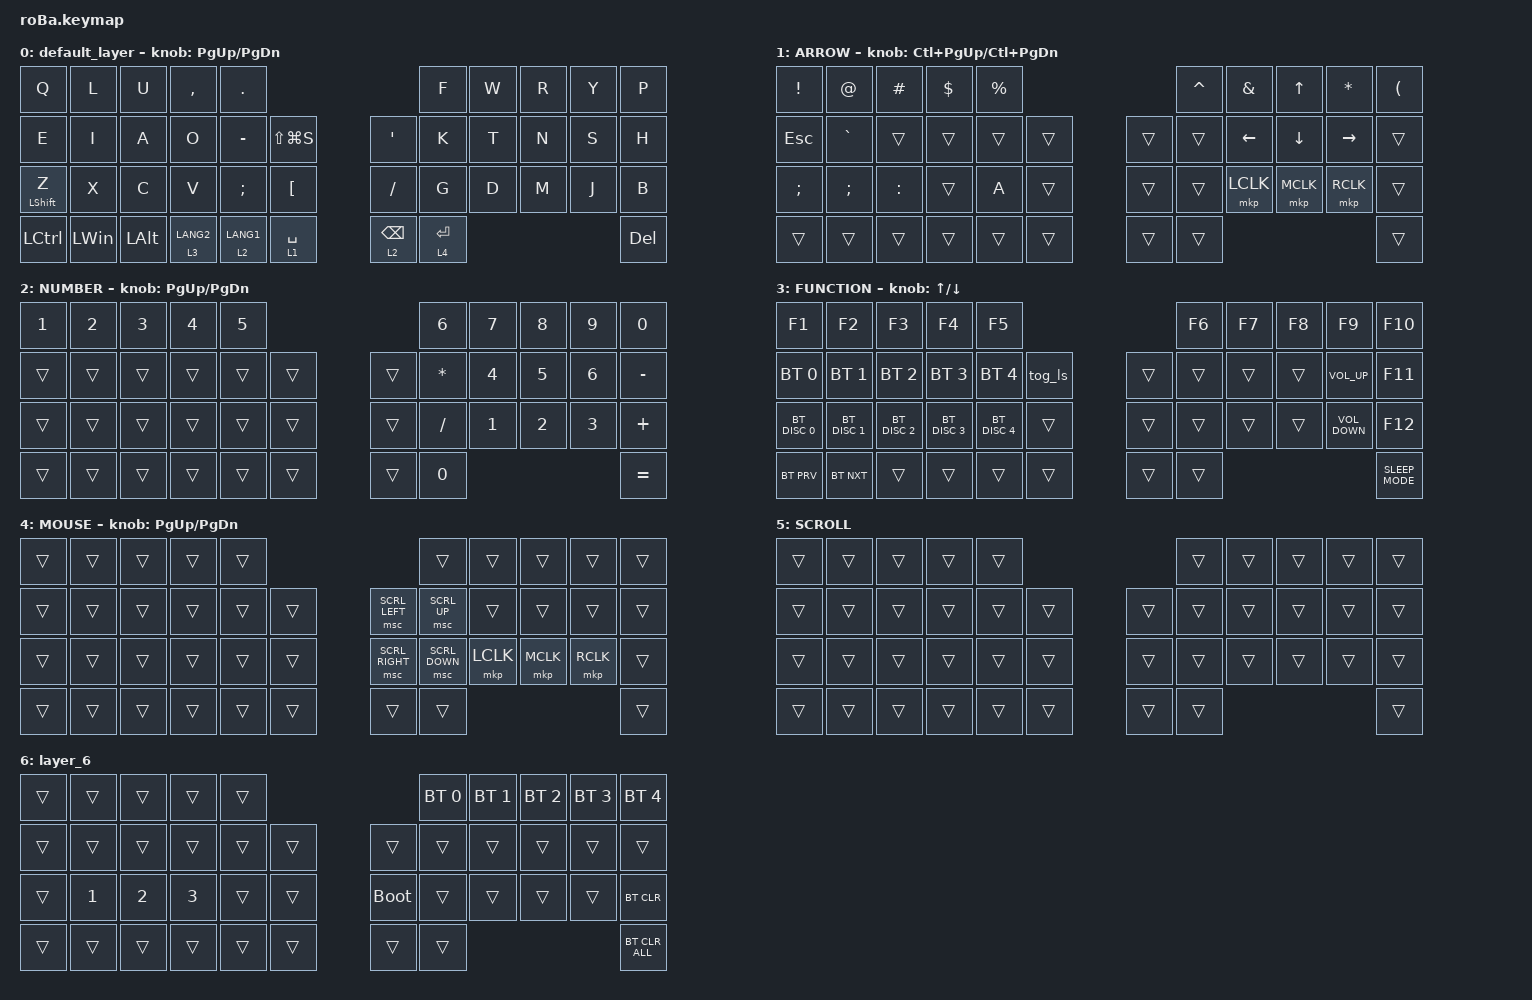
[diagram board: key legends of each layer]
#include <behaviors.dtsi>
#include <dt-bindings/zmk/bt.h>
#include <dt-bindings/zmk/keys.h>
#include <dt-bindings/zmk/pointing.h>
#include <layout_shift_kp_override.dtsi>

&mt {
    flavor = "balanced";
    quick-tap-ms = <0>;
};

&trackball {
    automouse-layer = <4>;
    scroll-layers = <5>;

    // arrows {
    //     layers = <3>;
    //     bindings =
    //         <&kp RIGHT_ARROW>,
    //         <&kp LEFT_ARROW>,
    //         <&kp UP_ARROW>,
    //         <&kp DOWN_ARROW>;
    //     tick = <10>;
    //     wait-ms = <5>;
    //     tap-ms = <5>;
    // };
};

/ {
    combos {
        compatible = "zmk,combos";

        tab {
            bindings = <&kp TAB>;
            key-positions = <11 12>;
        };

        shift_tab {
            bindings = <&kp LS(TAB)>;
            key-positions = <12 13>;
        };

        muhennkann {
            bindings = <&to_layer_0 INT_MUHENKAN>;
            key-positions = <11 10>;
        };

        double_quotation {
            bindings = <&kp DOUBLE_QUOTES>;
            key-positions = <20 21>;
        };

        eq {
            bindings = <&kp EQUAL>;
            key-positions = <24 25>;
        };
    };

    macros {
        to_layer_0: to_layer_0 {
            compatible = "zmk,behavior-macro-one-param";
            #binding-cells = <1>;
            bindings = <&to 0 &macro_param_1to1 &kp MACRO_PLACEHOLDER>;
            label = "TO_LAYER_0";
        };
    };

    behaviors {
        lt_to_layer_0: lt_to_layer_0 {
            compatible = "zmk,behavior-hold-tap";
            label = "LAYER_TAP_TO_0";
            bindings = <&mo>, <&to_layer_0>;

            #binding-cells = <2>;
            tapping-term-ms = <200>;
        };
    };

    keymap {
        compatible = "zmk,keymap";

        default_layer {
            bindings = <
&kp Q             &kp L         &kp U         &kp COMMA               &kp PERIOD                                                &kp F        &kp W  &kp R  &kp Y  &kp P
&kp E             &kp I         &kp A         &kp O                   &kp MINUS    &kp LS(LG(S))               &kp SQT          &kp K        &kp T  &kp N  &kp S  &kp H
&mt LEFT_SHIFT Z  &kp X         &kp C         &kp V                   &kp SEMI     &kp LEFT_BRACKET            &kp SLASH        &kp G        &kp D  &kp M  &kp J  &kp B
&kp LCTRL         &kp LEFT_WIN  &kp LEFT_ALT  &lt_to_layer_0 3 LANG2  &lt 2 LANG1  &lt_to_layer_0 1 SPACE      &lt 2 BACKSPACE  &lt 4 ENTER                       &kp DEL
            >;

            sensor-bindings = <&inc_dec_kp PG_UP PAGE_DOWN>;
        };

        ARROW {
            bindings = <
&kp EXCLAMATION  &kp AT_SIGN  &kp HASH   &kp DOLLAR  &kp PERCENT                      &kp CARET  &kp AMPERSAND   &kp UP_ARROW    &kp ASTERISK     &kp LEFT_PARENTHESIS
&kp ESCAPE       &kp GRAVE    &trans     &trans      &trans       &trans      &trans  &trans     &kp LEFT_ARROW  &kp DOWN_ARROW  &kp RIGHT_ARROW  &trans
&kp SEMICOLON    &kp SEMI     &kp COLON  &trans      &kp A        &trans      &trans  &trans     &mkp LCLK       &mkp MCLK       &mkp RCLK        &trans
&trans           &trans       &trans     &trans      &trans       &trans      &trans  &trans                                                      &trans
            >;

            sensor-bindings = <&inc_dec_kp LC(PAGE_UP) LC(PAGE_DOWN)>;
        };

        NUMBER {
            bindings = <
&kp NUMBER_1  &kp NUMBER_2  &kp NUMBER_3  &kp NUMBER_4  &kp N5                      &kp NUMBER_6  &kp N7        &kp N8        &kp N9        &kp N0
&trans        &trans        &trans        &trans        &trans  &trans      &trans  &kp ASTERISK  &kp NUMBER_4  &kp N5        &kp NUMBER_6  &kp MINUS
&trans        &trans        &trans        &trans        &trans  &trans      &trans  &kp SLASH     &kp NUMBER_1  &kp NUMBER_2  &kp NUMBER_3  &kp PLUS
&trans        &trans        &trans        &trans        &trans  &trans      &trans  &kp N0                                                  &kp EQUAL
            >;

            sensor-bindings = <&inc_dec_kp PG_UP PG_DN>;
        };

        FUNCTION {
            bindings = <
&kp F1         &kp F2         &kp F3         &kp F4         &kp F5                              &kp F6  &kp F7  &kp F8  &kp F9             &kp F10
&bt BT_SEL 0   &bt BT_SEL 1   &bt BT_SEL 2   &bt BT_SEL 3   &bt BT_SEL 4   &tog_ls      &trans  &trans  &trans  &trans  &kp C_VOLUME_UP    &kp F11
&bt BT_DISC 0  &bt BT_DISC 1  &bt BT_DISC 2  &bt BT_DISC 3  &bt BT_DISC 4  &trans       &trans  &trans  &trans  &trans  &kp C_VOLUME_DOWN  &kp F12
&bt BT_PRV     &bt BT_NXT     &trans         &trans         &trans         &trans       &trans  &trans                                     &kp C_SLEEP_MODE
            >;

            sensor-bindings = <&inc_dec_kp UP_ARROW DOWN>;
        };

        MOUSE {
            bindings = <
&trans  &trans  &trans  &trans  &trans                               &trans          &trans     &trans     &trans     &trans
&trans  &trans  &trans  &trans  &trans  &trans      &msc SCRL_LEFT   &msc SCRL_UP    &trans     &trans     &trans     &trans
&trans  &trans  &trans  &trans  &trans  &trans      &msc SCRL_RIGHT  &msc SCRL_DOWN  &mkp LCLK  &mkp MCLK  &mkp RCLK  &trans
&trans  &trans  &trans  &trans  &trans  &trans      &trans           &trans                                           &trans
            >;

            sensor-bindings = <&inc_dec_kp PG_UP PG_DN>;
        };

        SCROLL {
            bindings = <
&trans  &trans  &trans  &trans  &trans                      &trans  &trans  &trans  &trans  &trans
&trans  &trans  &trans  &trans  &trans  &trans      &trans  &trans  &trans  &trans  &trans  &trans
&trans  &trans  &trans  &trans  &trans  &trans      &trans  &trans  &trans  &trans  &trans  &trans
&trans  &trans  &trans  &trans  &trans  &trans      &trans  &trans                          &trans
            >;
        };

        layer_6 {
            bindings = <
&trans  &trans        &trans        &trans        &trans                           &bt BT_SEL 0  &bt BT_SEL 1  &bt BT_SEL 2  &bt BT_SEL 3  &bt BT_SEL 4
&trans  &trans        &trans        &trans        &trans  &trans      &trans       &trans        &trans        &trans        &trans        &trans
&trans  &kp NUMBER_1  &kp NUMBER_2  &kp NUMBER_3  &trans  &trans      &bootloader  &trans        &trans        &trans        &trans        &bt BT_CLR
&trans  &trans        &trans        &trans        &trans  &trans      &trans       &trans                                                  &bt BT_CLR_ALL
            >;
        };
    };
};
